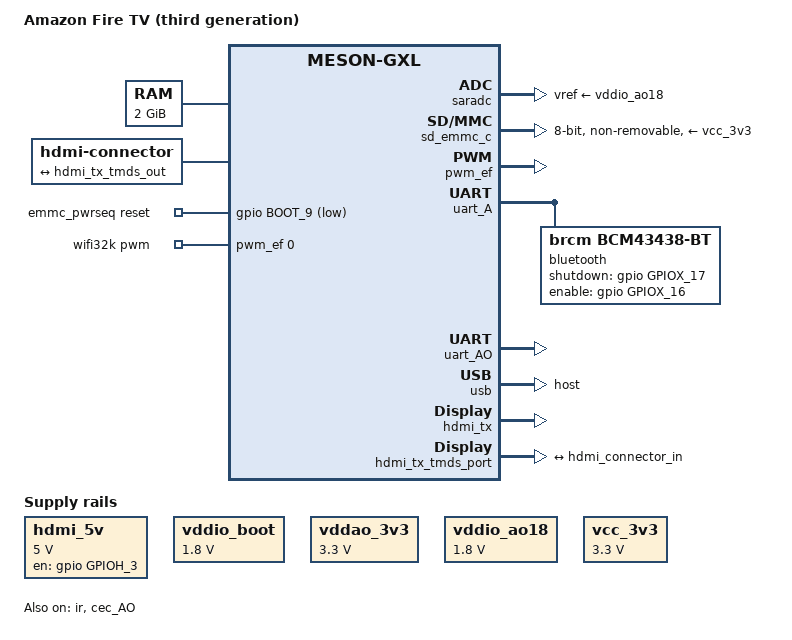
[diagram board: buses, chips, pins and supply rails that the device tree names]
// SPDX-License-Identifier: (GPL-2.0+ OR MIT)
/*
 * Copyright (c) 2022 Ben Westover <kwestover.kw@gmail.com>
 * Based on meson-gxl-s905x-p212.dtsi:
 * - Copyright (c) 2016 Martin Blumenstingl <martin.blumenstingl@googlemail.com>
 * and meson-gxl-s905x-p212.dts:
 * - Copyright (c) 2016 Endless Computers, Inc.
 * - Author: Carlo Caione <carlo@endlessm.com>
 */

/dts-v1/;

#include "meson-gxl-s905x.dtsi"

/ {
	compatible = "amazon,needle", "amlogic,s905z", "amlogic,meson-gxl";
	model = "Amazon Fire TV (third generation)";

	aliases {
		serial0 = &uart_AO;
		ethernet0 = &ethmac;
	};

	chosen {
		stdout-path = "serial0:115200n8";
	};

	memory@0 {
		device_type = "memory";
		reg = <0x0 0x0 0x0 0x80000000>;
	};

	hdmi-connector {
		compatible = "hdmi-connector";
		type = "a";

		port {
			hdmi_connector_in: endpoint {
				remote-endpoint = <&hdmi_tx_tmds_out>;
			};
		};
	};

	hdmi_5v: regulator-hdmi-5v {
		compatible = "regulator-fixed";

		regulator-name = "HDMI_5V";
		regulator-min-microvolt = <5000000>;
		regulator-max-microvolt = <5000000>;

		gpio = <&gpio GPIOH_3 GPIO_ACTIVE_HIGH>;
		enable-active-high;
		regulator-always-on;
	};

	vddio_boot: regulator-vddio_boot {
		compatible = "regulator-fixed";
		regulator-name = "VDDIO_BOOT";
		regulator-min-microvolt = <1800000>;
		regulator-max-microvolt = <1800000>;
	};

	vddao_3v3: regulator-vddao_3v3 {
		compatible = "regulator-fixed";
		regulator-name = "VDDAO_3V3";
		regulator-min-microvolt = <3300000>;
		regulator-max-microvolt = <3300000>;
	};

	vddio_ao18: regulator-vddio_ao18 {
		compatible = "regulator-fixed";
		regulator-name = "VDDIO_AO18";
		regulator-min-microvolt = <1800000>;
		regulator-max-microvolt = <1800000>;
	};

	vcc_3v3: regulator-vcc_3v3 {
		compatible = "regulator-fixed";
		regulator-name = "VCC_3V3";
		regulator-min-microvolt = <3300000>;
		regulator-max-microvolt = <3300000>;
	};

	emmc_pwrseq: emmc-pwrseq {
		compatible = "mmc-pwrseq-emmc";
		reset-gpios = <&gpio BOOT_9 GPIO_ACTIVE_LOW>;
	};

	wifi32k: wifi32k {
		compatible = "pwm-clock";
		#clock-cells = <0>;
		clock-frequency = <32768>;
		pwms = <&pwm_ef 0 30518 0>; /* PWM_E at 32.768KHz */
	};

};

&ethmac {
	status = "disable";
};

&ir {
	status = "okay";
	pinctrl-0 = <&remote_input_ao_pins>;
	pinctrl-names = "default";
};

&saradc {
	status = "okay";
	vref-supply = <&vddio_ao18>;
};

&sd_emmc_c {
	status = "okay";
	pinctrl-0 = <&emmc_pins>, <&emmc_ds_pins>;
	pinctrl-1 = <&emmc_clk_gate_pins>;
	pinctrl-names = "default", "clk-gate";

	bus-width = <8>;
	cap-mmc-highspeed;
	max-frequency = <200000000>;
	non-removable;
	disable-wp;
	mmc-ddr-1_8v;
	mmc-hs200-1_8v;

	mmc-pwrseq = <&emmc_pwrseq>;
	vmmc-supply = <&vcc_3v3>;
	vqmmc-supply = <&vddio_boot>;
};

&pwm_ef {
	status = "okay";
	pinctrl-0 = <&pwm_e_pins>;
	pinctrl-names = "default";
	clocks = <&clkc CLKID_FCLK_DIV4>;
	clock-names = "clkin0";
};

/* This is connected to the Bluetooth module: */
&uart_A {
	status = "okay";
	pinctrl-0 = <&uart_a_pins>, <&uart_a_cts_rts_pins>;
	pinctrl-names = "default";
	uart-has-rtscts;

	bluetooth {
		compatible = "brcm,bcm43438-bt";
		shutdown-gpios = <&gpio GPIOX_17 GPIO_ACTIVE_HIGH>;
		enable-gpios = <&gpio GPIOX_16 GPIO_ACTIVE_HIGH>;
		max-speed = <2000000>;
		clocks = <&wifi32k>;
		clock-names = "lpo";
	};
};

&uart_AO {
	status = "okay";
	pinctrl-0 = <&uart_ao_a_pins>;
	pinctrl-names = "default";
};

&usb {
	status = "okay";
	dr_mode = "host";
};

&usb2_phy0 {
	/*
	 * HDMI_5V is also used as supply for the USB VBUS.
	 */
	phy-supply = <&hdmi_5v>;
};

&cec_AO {
	status = "okay";
	pinctrl-0 = <&ao_cec_pins>;
	pinctrl-names = "default";
	hdmi-phandle = <&hdmi_tx>;
};

&hdmi_tx {
	status = "okay";
	pinctrl-0 = <&hdmi_hpd_pins>, <&hdmi_i2c_pins>;
	pinctrl-names = "default";
	hdmi-supply = <&hdmi_5v>;
};

&hdmi_tx_tmds_port {
	hdmi_tx_tmds_out: endpoint {
		remote-endpoint = <&hdmi_connector_in>;
	};
};
